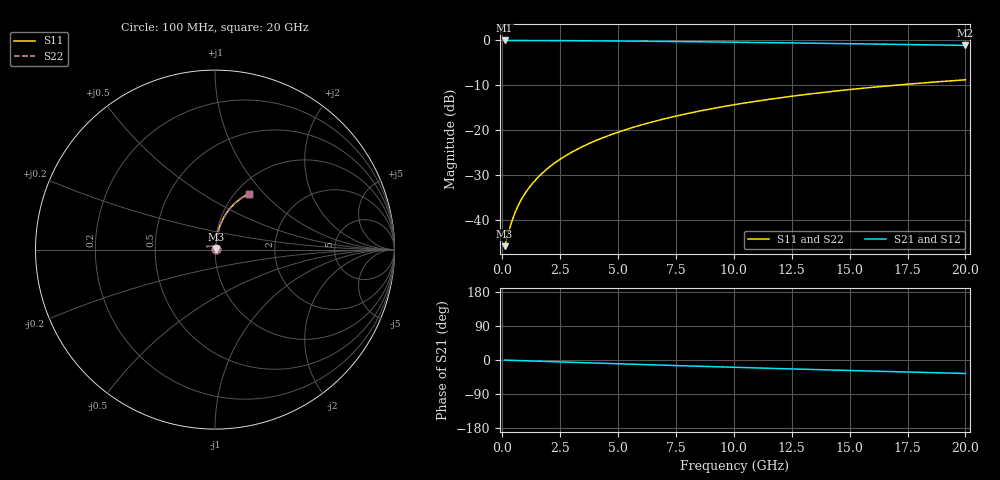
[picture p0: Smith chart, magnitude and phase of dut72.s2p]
! Touchstone file exported from HFSS 2024.1.0
!  File:  C:/UserFiles/LocalFiles/RDL_TSV_Batchsim/temp_RDL_bottom_72_1778693898.aedt
!  Generated:  01:41:10 AM May 14, 2026
!  Design:  RDL_bottom
!  Project:  temp_RDL_bottom_72_1778693898
!  Setup:  Setup1
!  Solution:  Sweep
! Variables:
!  dtsv = 10.80580581um
!  hbump = 3um
!  htsv = 91.67um
!  ldown = 482.19um
!  lrdl = 100um
!  p = 40
!  p1 = 41.29um
!  rhole = 1um
!  t = 450um
!  tdown = 2.28um
!  trdl = 3.915915916um
!  wdown = 16.56um
!  wrdl = 20um
# GHz S MA R 50.000000
! Terminal data exported
! Port[1] = RDL1_T1
! Port[2] = RDL1_T2
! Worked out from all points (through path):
!   200 points, 100 MHz to 20 GHz, reference 50 ohm
!   highest |S21| = -0.04 dB at 100 MHz (marker M1); lowest = -1.1 dB at 20 GHz (marker M2)
!   group delay of S21, straight-line fit = 4.93 ps
!   lowest |S11| = -45.7 dB at 100 MHz (marker M3), VSWR 1.01, Z = 50.5 + j0.206 ohm
!   |S11| at or under -10 dB: start of sweep to 16.94 GHz
!   |S22| runs from -45.7 to -8.8 dB; largest |S21 - S12| = 2.6e-15
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0.1  0.005173 23.3  0.9952 -0.2  0.9952 -0.2  0.005173 23.3
! Gamma 0 0 0 0
! Port Impedance 50 0 50 0
0.4  0.009512 57.7  0.9949 -0.8  0.9949 -0.8  0.009512 57.7
0.5  0.01126 62.3  0.9947 -1.1  0.9947 -1.1  0.01126 62.3
0.6  0.01304 65.5  0.9945 -1.3  0.9945 -1.3  0.01304 65.5
0.7  0.01483 68.0  0.9944 -1.5  0.9944 -1.5  0.01483 68.0
0.9  0.01843 71.5  0.994 -1.9  0.994 -1.9  0.01843 71.5
1.2  0.02385 74.7  0.9935 -2.5  0.9935 -2.5  0.02385 74.7
1.4  0.02749 76.2  0.9931 -2.9  0.9931 -2.9  0.02749 76.2
1.7  0.03298 77.8  0.9926 -3.5  0.9926 -3.5  0.03298 77.8
2.2  0.04222 79.3  0.9915 -4.5  0.9915 -4.5  0.04222 79.3
2.8  0.05343 80.3  0.9899 -5.7  0.9899 -5.7  0.05343 80.3
3.5  0.06665 80.6  0.9876 -7.1  0.9876 -7.1  0.06665 80.7
4.2  0.08 80.6  0.985 -8.4  0.985 -8.4  0.08 80.6
5  0.09537 80.2  0.9816 -10.0  0.9816 -10.0  0.09538 80.2
5.9  0.1128 79.5  0.9772 -11.7  0.9772 -11.7  0.1128 79.5
6.8  0.1303 78.5  0.9723 -13.4  0.9723 -13.4  0.1303 78.5
8.4  0.1614 76.5  0.9628 -16.4  0.9628 -16.4  0.1614 76.5
10.1  0.1941 74.1  0.9517 -19.4  0.9517 -19.4  0.1941 74.1
11.7  0.2243 71.6  0.9406 -22.2  0.9406 -22.2  0.2243 71.7
13.4  0.2554 69.0  0.9282 -25.1  0.9282 -25.1  0.2555 69.0
16.7  0.3123 63.8  0.9031 -30.5  0.9031 -30.5  0.3124 63.8
20  0.3639 58.7  0.8774 -35.5  0.8774 -35.5  0.364 58.7
